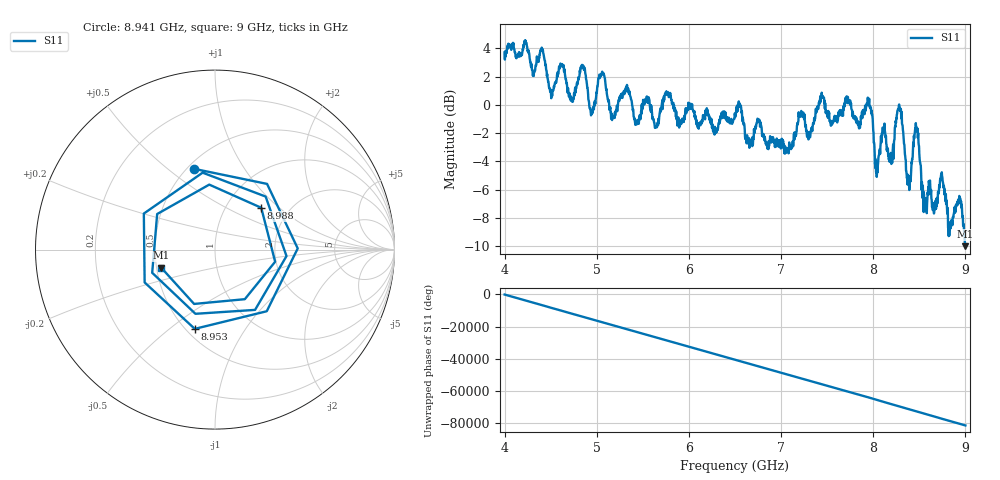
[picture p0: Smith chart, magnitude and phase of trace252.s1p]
! Created with skrf 1.8.0 (http://scikit-rf.org).
# Hz S RI R 50.0
!freq ReS11 ImS11
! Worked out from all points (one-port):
!   1601 points, 4 GHz to 9 GHz, reference 50 ohm
!   lowest |S11| = -10.0 dB at 9 GHz (marker M1), VSWR 1.92, Z = 26.5 - j5.95 ohm
!   |S11| at or under -10 dB: 8.999875 GHz to end of sweep
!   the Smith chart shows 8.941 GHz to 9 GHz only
!   S11 on the Smith chart (normalised r, x): 8.941 GHz: 0.54, +0.62; 8.953 GHz: 0.55, -0.62; 8.988 GHz: 1.45, +0.77; 9 GHz: 0.53, -0.12
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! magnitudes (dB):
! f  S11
! 4 GHz  3.7
! 4.406 GHz  3.9
! 4.506 GHz  0.5
! 4.625 GHz  2.9
! 4.725 GHz  0.4
! 4.85 GHz  2.8
! 4.944 GHz  -0.5
! 5.053 GHz  2.2
! 5.169 GHz  -0.8
! 5.25 GHz  0.5
! 5.875 GHz  -1.5
! 6.5 GHz  -0.7
! 7.125 GHz  -2.6
! 7.441 GHz  0.9
! 7.75 GHz  0.3
! 7.966 GHz  -0.1
! 8.041 GHz  -4.8
! 8.109 GHz  -1.7
! 8.197 GHz  -4.2
! 8.284 GHz  -0.1
! 8.375 GHz  -4.9
! 8.466 GHz  -1.7
! 8.559 GHz  -7.5
! 8.838 GHz  -8.6
! 8.941 GHz  -6.6
! 8.953 GHz  -6.8
! 8.988 GHz  -9.2
! 9 GHz  -10.0
